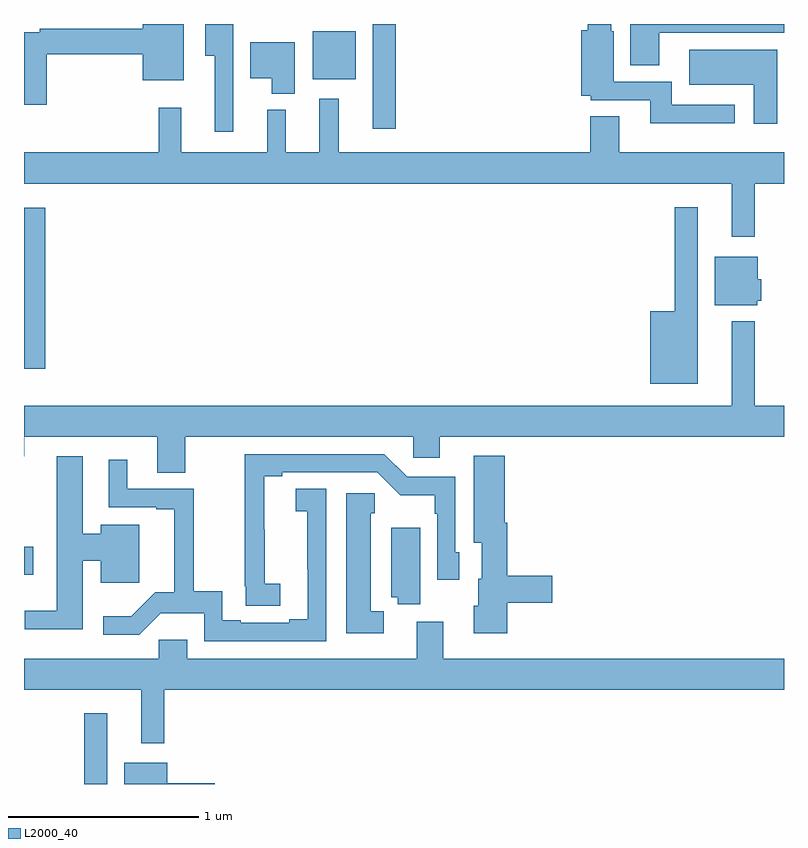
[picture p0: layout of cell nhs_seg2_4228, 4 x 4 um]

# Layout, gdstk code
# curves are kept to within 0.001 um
import gdstk
lib = gdstk.Library(unit=1e-6, precision=1e-09)
def R(c, l, rs):  # rectangles x0, y0, x1, y1
    for r in rs: c.add(gdstk.rectangle(r[:2], r[2:], *l))
def P(c, l, *ps):  # polygons
    for p in ps: c.add(gdstk.Polygon(p, *l))
L2000_40 = (2000, 40)

nhs_seg2_4228 = lib.new_cell('nhs_seg2_4228')
R(nhs_seg2_4228, L2000_40, [(339.318,653.8,339.439,654.172), (339,654.902,339.049,655.05), (339,655.986,339.113,656.833), (340.835,657.249,340.957,657.8), (340.52,657.509,340.747,657.763)])
P(nhs_seg2_4228, L2000_40, [(342.343,657.753),(343,657.753),(343,657.8),(342.191,657.8),(342.191,657.582),(342.343,657.582)],
  [(339.119,657.64),(339.626,657.64),(339.626,657.503),(339.841,657.503),(339.841,657.8),(339.626,657.8),(339.626,657.776),(339.082,657.776),(339.082,657.756),(339,657.756),(339,657.375),(339.119,657.375)],
  [(342.742,657.375),(342.409,657.375),(342.409,657.495),(342.103,657.495),(342.103,657.762),(342.091,657.762),(342.091,657.8),(341.966,657.8),(341.966,657.766),(341.933,657.766),(341.933,657.422),(341.982,657.422),(341.982,657.399),(342.296,657.399),(342.296,657.278),(342.742,657.278)],
  [(340.101,657.8),(339.953,657.8),(339.953,657.632),(340.004,657.632),(340.004,657.234),(340.101,657.234)],
  [(340.426,657.703),(340.19,657.703),(340.19,657.515),(340.304,657.515),(340.304,657.434),(340.426,657.434)],
  [(342.964,657.664),(342.5,657.664),(342.5,657.479),(342.842,657.479),(342.842,657.276),(342.964,657.276)],
  [(342.847,656.96),(343,656.96),(343,657.124),(342.133,657.124),(342.133,657.314),(341.981,657.314),(341.981,657.124),(340.657,657.124),(340.657,657.406),(340.553,657.406),(340.553,657.124),(340.378,657.124),(340.378,657.349),(340.28,657.349),(340.28,657.124),(339.827,657.124),(339.827,657.358),(339.709,657.358),(339.709,657.124),(339,657.124),(339,656.96),(342.725,656.96),(342.725,656.679),(342.847,656.679)],
  [(342.547,656.836),(342.426,656.836),(342.426,656.287),(342.296,656.287),(342.296,655.907),(342.547,655.907)],
  [(342.858,656.343),(342.88,656.343),(342.88,656.457),(342.862,656.457),(342.862,656.575),(342.635,656.575),(342.635,656.321),(342.858,656.321)],
  [(339.849,655.628),(341.049,655.628),(341.049,655.518),(341.188,655.518),(341.188,655.628),(343,655.628),(343,655.792),(342.847,655.792),(342.847,656.236),(342.725,656.236),(342.725,655.792),(339,655.792),(339,655.526),(339.001,655.526),(339.001,655.628),(339.701,655.628),(339.701,655.438),(339.849,655.438)],
  [(340.348,654.854),(340.266,654.854),(340.264,655.42),(340.36,655.42),(340.36,655.44),(340.86,655.44),(340.981,655.319),(341.163,655.319),(341.163,655.223),(341.175,655.223),(341.175,654.876),(341.292,654.876),(341.292,655.02),(341.271,655.02),(341.271,655.416),(341.016,655.416),(340.896,655.536),(340.162,655.536),(340.162,654.841),(340.168,654.841),(340.168,654.739),(340.348,654.739)],
  [(341.543,654.754),(341.779,654.754),(341.779,654.896),(341.543,654.896),(341.543,655.174),(341.53,655.174),(341.53,655.528),(341.366,655.528),(341.366,655.07),(341.408,655.07),(341.408,654.879),(341.39,654.879),(341.39,654.738),(341.366,654.738),(341.366,654.594),(341.543,654.594)],
  [(339.31,654.976),(339.404,654.976),(339.404,654.86),(339.607,654.86),(339.607,655.165),(339.404,655.165),(339.404,655.118),(339.31,655.118),(339.31,655.525),(339.173,655.525),(339.173,654.713),(339.003,654.713),(339.003,654.614),(339.31,654.614)],
  [(340.59,655.355),(340.431,655.355),(340.431,655.235),(340.492,655.235),(340.493,654.668),(340.397,654.668),(340.397,654.648),(340.141,654.648),(340.141,654.662),(340.044,654.662),(340.044,654.815),(339.893,654.815),(339.893,655.353),(339.544,655.353),(339.544,655.507),(339.446,655.507),(339.446,655.257),(339.695,655.257),(339.695,655.245),(339.791,655.245),(339.791,654.808),(339.691,654.808),(339.565,654.682),(339.417,654.682),(339.417,654.585),(339.606,654.585),(339.719,654.698),(339.948,654.698),(339.948,654.552),(340.59,654.552)],
  [(340.894,654.708),(340.825,654.708),(340.825,655.224),(340.847,655.224),(340.847,655.33),(340.697,655.33),(340.697,654.593),(340.894,654.593)],
  [(341.086,655.15),(340.934,655.15),(340.934,654.782),(340.966,654.782),(340.966,654.745),(341.086,654.745)],
  [(339.739,654.296),(343,654.296),(343,654.46),(341.206,654.46),(341.206,654.655),(341.066,654.655),(341.066,654.46),(339.859,654.46),(339.859,654.558),(339.708,654.558),(339.708,654.46),(339,654.46),(339,654.296),(339.617,654.296),(339.617,654.015),(339.739,654.015)],
  [(340.003,653.805),(339.754,653.805),(339.754,653.911),(339.527,653.911),(339.527,653.8),(340.003,653.8)])

lib.write_gds('nhs_seg2_4228.gds')
